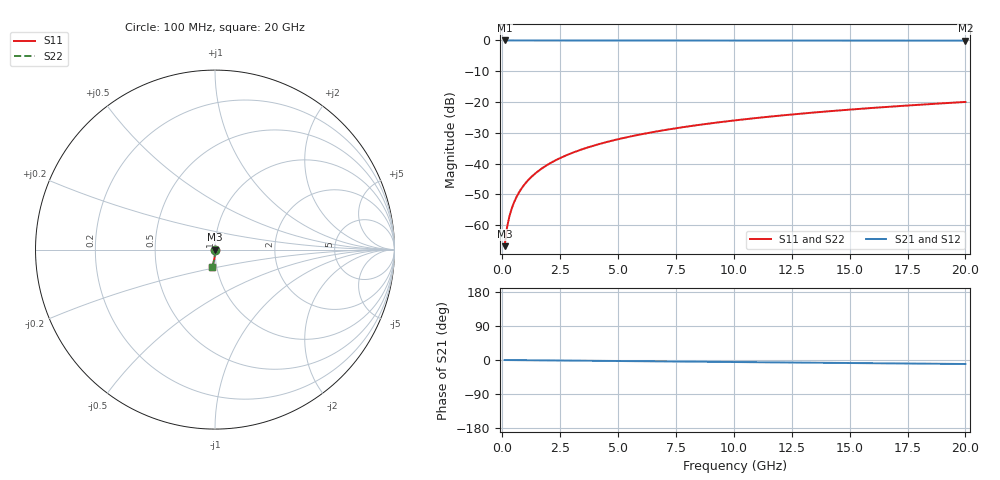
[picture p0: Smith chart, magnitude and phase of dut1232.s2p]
! Touchstone file exported from HFSS 2026.1.0
!  File:  C:/ffzhzh/LocalFiles/Ansys_Project_Files/temp_train_TSV_1232_1783193291_51560.aedt
!  Generated:  03:29:27 AM Jul  5, 2026
!  Design:  TSV
!  Project:  temp_train_TSV_1232_1783193291_51560
! Variables:
!  h_bsmrdl = 2um
!  h_ox = 20um
!  h_rdl = 5um
!  h_sub = 96.26um
!  h_tmrdl = 5um
!  h_tsv = 96.26um
!  h_via = 3um
!  l_bsmrdl = 300um
!  l_sub = 426.12um
!  l_tmrdl = 200um
!  m_sub = 200um
!  pitch = 33.39um
!  r_tsv = 13.06um
!  s_tmrdl = 10um
!  w_bsmrdl = 18um
!  w_sub = 500um
!  w_tmrdl = 12um
!  x_tsv_center1 = 206um
!  x_tsv_center2 = 524um
!  x_tsv_center3 = 736um
!  x_tsv_center4 = 1054um
!  x_tsv_center5 = 1266um
!  x_tsv_center6 = 1584um
# GHz S MA R 50.000000
! Terminal data exported
! Port[1] = TSV1_1_T1
! Port[2] = TSV1_1_T2
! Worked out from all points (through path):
!   200 points, 100 MHz to 20 GHz, reference 50 ohm
!   highest |S21| = 0.00 dB at 100 MHz (marker M1); lowest = -0.1 dB at 20 GHz (marker M2)
!   group delay of S21, straight-line fit = 1.47 ps
!   lowest |S11| = -66.8 dB at 100 MHz (marker M3), VSWR 1.00, Z = 50 - j0.0442 ohm
!   |S11| at or under -10 dB: start of sweep to end of sweep
!   |S22| runs from -66.8 to -20.0 dB; largest |S21 - S12| = 5.6e-15
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0.1  0.0004563 -75.8  0.9999 -0.1  0.9999 -0.1  0.0004563 -75.8
! Gamma 0 0 0 0
! Port Impedance 50 0 50 0
0.2  0.0009007 -81.5  0.9999 -0.1  0.9999 -0.1  0.0009007 -81.5
0.3  0.00136 -83.2  0.9998 -0.2  0.9998 -0.2  0.00136 -83.2
0.4  0.001831 -83.9  0.9998 -0.2  0.9998 -0.2  0.001831 -83.9
0.5  0.002312 -84.4  0.9998 -0.3  0.9998 -0.3  0.002312 -84.4
0.7  0.003295 -85.1  0.9997 -0.4  0.9997 -0.4  0.003295 -85.1
0.8  0.003793 -85.5  0.9997 -0.4  0.9997 -0.4  0.003793 -85.5
1  0.004794 -86.1  0.9996 -0.5  0.9996 -0.5  0.004794 -86.1
1.2  0.005798 -86.6  0.9996 -0.7  0.9996 -0.7  0.005798 -86.6
1.4  0.006802 -87.1  0.9995 -0.8  0.9995 -0.8  0.006802 -87.1
1.7  0.008307 -87.7  0.9995 -0.9  0.9995 -0.9  0.008307 -87.7
2  0.009812 -88.2  0.9994 -1.1  0.9994 -1.1  0.009812 -88.2
2.7  0.01332 -89.0  0.9993 -1.5  0.9993 -1.5  0.01332 -89.0
3.5  0.01734 -89.8  0.9992 -1.9  0.9992 -1.9  0.01734 -89.8
4.2  0.02086 -90.3  0.9991 -2.3  0.9991 -2.3  0.02086 -90.3
5  0.02489 -90.9  0.9989 -2.7  0.9989 -2.7  0.02489 -90.9
6.8  0.03398 -92.1  0.9985 -3.6  0.9985 -3.6  0.03398 -92.1
8.3  0.04155 -93.0  0.9981 -4.4  0.9981 -4.4  0.04155 -93.0
10.1  0.05064 -94.1  0.9976 -5.4  0.9976 -5.4  0.05064 -94.1
13.4  0.06726 -96.0  0.9965 -7.1  0.9965 -7.1  0.06726 -96.0
16.7  0.0838 -97.9  0.995 -8.9  0.995 -8.9  0.0838 -97.9
20  0.1002 -99.7  0.9934 -10.6  0.9934 -10.6  0.1002 -99.7
